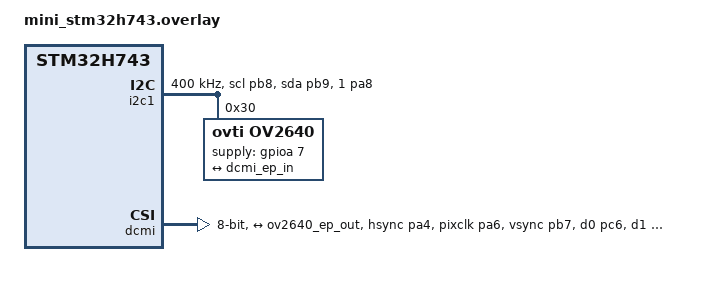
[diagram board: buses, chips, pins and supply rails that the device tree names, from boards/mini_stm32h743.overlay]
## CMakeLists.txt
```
# SPDX-License-Identifier: Apache-2.0

cmake_minimum_required(VERSION 3.28.0)
find_package(Zephyr REQUIRED HINTS $ENV{ZEPHYR_BASE})
project(video_capture)

file(GLOB app_sources src/*.c)
target_sources(app PRIVATE ${app_sources})
```

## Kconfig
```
# VIDEO resolution settings

# Copyright (c) 2024 Charles Dias <charlesdias.cd@outlook.com>
# SPDX-License-Identifier: Apache-2.0

mainmenu "Video capture to LVGL sample application"

menu "Video capture configuration"

config VIDEO_SOURCE_CROP_LEFT
	int "Crop area left value"
	default 0
	help
	   Left value of the crop area within the video source.

config VIDEO_SOURCE_CROP_TOP
	int "Crop area top value"
	default 0
	help
	   Top value of the crop area within the video source.

config VIDEO_SOURCE_CROP_WIDTH
	int "Crop area width value"
	default 0
	help
	   Width value of the crop area within the video source.
	   If set to 0, the crop is not applied.

config VIDEO_SOURCE_CROP_HEIGHT
	int "Crop area height value"
	default 0
	help
	   Height value of the crop area within the video source.
	   If set to 0, the crop is not applied.

config VIDEO_WIDTH
	int "Define the width of the video"
	default 320

config VIDEO_HEIGHT
	int "Define the height of the video"
	default 240

config VIDEO_HFLIP
	bool "Horizontal flip"

config VIDEO_VFLIP
	bool "Vertical flip"

endmenu

source "Kconfig.zephyr"
```

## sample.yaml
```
sample:
  name: Video capture to LVGL
tests:
  sample.video.capture_to_lvgl:
    build_only: true
    tags:
      - video
    platform_allow:
      - mini_stm32h743
    depends_on: video
```

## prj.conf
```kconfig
CONFIG_VIDEO=y

CONFIG_PRINTK=y
CONFIG_LOG=y

CONFIG_MAIN_STACK_SIZE=4096

CONFIG_DISPLAY=y
CONFIG_DISPLAY_LOG_LEVEL_ERR=y

CONFIG_LVGL=y
CONFIG_LV_USE_IMAGE=y
CONFIG_LV_Z_MEM_POOL_SIZE=16384
CONFIG_LV_USE_PERF_MONITOR=y
CONFIG_LV_USE_DROPDOWN=y
CONFIG_LV_USE_SYSMON=y
CONFIG_CPU_LOAD=y
```

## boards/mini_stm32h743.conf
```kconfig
#
# Copyright (c) 2024 Charles Dias <charlesdias.cd@outlook.com>
#
# SPDX-License-Identifier: Apache-2.0
#

CONFIG_LOG_BUFFER_SIZE=2048

CONFIG_VIDEO_BUFFER_POOL_HEAP_SIZE=204800
CONFIG_VIDEO_WIDTH=160
CONFIG_VIDEO_HEIGHT=120
```

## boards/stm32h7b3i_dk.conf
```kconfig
#
# Copyright (c) 2025 Charles Dias <charlesdias.cd@outlook.com>
#
# SPDX-License-Identifier: Apache-2.0
#

CONFIG_LOG_BUFFER_SIZE=2048

CONFIG_VIDEO_WIDTH=480
CONFIG_VIDEO_HEIGHT=272
CONFIG_VIDEO_BUFFER_POOL_HEAP_SIZE=524288
```

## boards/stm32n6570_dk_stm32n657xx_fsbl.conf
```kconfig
# SPDX-FileCopyrightText: Copyright The Zephyr Project Contributors
# SPDX-License-Identifier: Apache-2.0

CONFIG_VIDEO_WIDTH=800
CONFIG_VIDEO_HEIGHT=480
CONFIG_VIDEO_BUFFER_POOL_HEAP_SIZE=1600000
```

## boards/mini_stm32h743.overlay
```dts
/*
 * Copyright (c) 2024 Charles Dias <charlesdias.cd@outlook.com>
 *
 * SPDX-License-Identifier: Apache-2.0
 *
 */

/ {
	chosen {
		zephyr,camera = &dcmi;
	};
};

&pll {
	div-m = <5>;
	mul-n = <96>;
	div-p = <2>;
	div-q = <2>;
	div-r = <2>;
	clocks = <&clk_hse>;
	status = "okay";
};

&rcc {
	clocks = <&pll>;
	clock-frequency = <DT_FREQ_M(240)>;
	d1cpre = <1>;
	hpre = <1>;
	d1ppre = <2>;
	d2ppre1 = <2>;
	d2ppre2 = <2>;
	d3ppre = <2>;
};

&i2c1 {
	pinctrl-0 = <&i2c1_scl_pb8 &i2c1_sda_pb9 &rcc_mco_1_pa8>;
	pinctrl-names = "default";
	status = "okay";
	clock-frequency = <I2C_BITRATE_FAST>;

	ov2640: ov2640@30 {
		compatible = "ovti,ov2640";
		reg = <0x30>;
		status = "okay";
		supply-gpios = <&gpioa 7 GPIO_ACTIVE_HIGH>;
		clock-rate-control = <0x80>;

		port {
			ov2640_ep_out: endpoint {
				remote-endpoint = <&dcmi_ep_in>;
			};
		};
	};
};

&dcmi {
	status = "okay";
	sensor = <&ov2640>;
	pinctrl-0 = <&dcmi_hsync_pa4 &dcmi_pixclk_pa6 &dcmi_vsync_pb7
		&dcmi_d0_pc6 &dcmi_d1_pc7 &dcmi_d2_pe0 &dcmi_d3_pe1
		&dcmi_d4_pe4 &dcmi_d5_pd3 &dcmi_d6_pe5 &dcmi_d7_pe6>;
	pinctrl-names = "default";
	bus-width = <8>;
	hsync-active = <0>;
	vsync-active = <0>;
	pixelclk-active = <1>;
	capture-rate = <1>;
	dmas = <&dma1 0 75 (STM32_DMA_PERIPH_TO_MEMORY | STM32_DMA_PERIPH_NO_INC |
		STM32_DMA_MEM_INC | STM32_DMA_PERIPH_8BITS | STM32_DMA_MEM_32BITS |
		STM32_DMA_PRIORITY_HIGH) STM32_DMA_FIFO_1_4>;

	port {
		dcmi_ep_in: endpoint {
			remote-endpoint = <&ov2640_ep_out>;
		};
	};
};

&dma1 {
	status = "okay";
};

&dmamux1 {
	status = "okay";
};
```

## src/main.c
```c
/*
 * Copyright (c) 2024 Charles Dias <charlesdias.cd@outlook.com>
 *
 * SPDX-License-Identifier: Apache-2.0
 */

#include <zephyr/device.h>
#include <zephyr/drivers/display.h>
#include <zephyr/kernel.h>
#include <zephyr/logging/log.h>
#include <zephyr/video/video.h>

#include <lvgl.h>

LOG_MODULE_REGISTER(main, CONFIG_LOG_DEFAULT_LEVEL);

#if !DT_HAS_CHOSEN(zephyr_camera)
#error No camera chosen in devicetree. Missing "--shield" or "--snippet video-sw-generator" flag?
#endif

#if !DT_HAS_CHOSEN(zephyr_display)
#error No display chosen in devicetree. Missing "--shield" flag?
#endif

int main(void)
{
	struct video_buffer *buffers[2];
	struct video_buffer *vbuf = &(struct video_buffer){};
	const struct device *display_dev;
	const struct device *video_dev;
	struct video_format fmt;
	struct video_caps caps;
	enum video_buf_type type = VIDEO_BUF_TYPE_OUTPUT;
	struct video_selection sel = {
		.type = VIDEO_BUF_TYPE_OUTPUT,
	};
	int i = 0;
	int err;

	display_dev = DEVICE_DT_GET(DT_CHOSEN(zephyr_display));
	if (!device_is_ready(display_dev)) {
		LOG_ERR("Device not ready, aborting test");
		return 0;
	}

	video_dev = DEVICE_DT_GET(DT_CHOSEN(zephyr_camera));
	if (!device_is_ready(video_dev)) {
		LOG_ERR("%s device is not ready", video_dev->name);
		return 0;
	}

	LOG_INF("- Device name: %s", video_dev->name);

	/* Get capabilities */
	caps.type = type;
	if (video_get_caps(video_dev, &caps)) {
		LOG_ERR("Unable to retrieve video capabilities");
		return 0;
	}

	LOG_INF("- Capabilities:");
	while (caps.format_caps[i].pixelformat) {
		const struct video_format_cap *fcap = &caps.format_caps[i];
		/* four %c to string */
		LOG_INF("  %c%c%c%c width [%u; %u; %u] height [%u; %u; %u]",
			(char)fcap->pixelformat, (char)(fcap->pixelformat >> 8),
			(char)(fcap->pixelformat >> 16), (char)(fcap->pixelformat >> 24),
			fcap->width_min, fcap->width_max, fcap->width_step, fcap->height_min,
			fcap->height_max, fcap->height_step);
		i++;
	}

	/* Get default/native format */
	fmt.type = type;
	if (video_get_format(video_dev, &fmt)) {
		LOG_ERR("Unable to retrieve video format");
		return 0;
	}

	/* Set the crop setting if necessary */
#if CONFIG_VIDEO_SOURCE_CROP_WIDTH && CONFIG_VIDEO_SOURCE_CROP_HEIGHT
	sel.target = VIDEO_SEL_TGT_CROP;
	sel.rect.left = CONFIG_VIDEO_SOURCE_CROP_LEFT;
	sel.rect.top = CONFIG_VIDEO_SOURCE_CROP_TOP;
	sel.rect.width = CONFIG_VIDEO_SOURCE_CROP_WIDTH;
	sel.rect.height = CONFIG_VIDEO_SOURCE_CROP_HEIGHT;
	if (video_set_selection(video_dev, &sel)) {
		LOG_ERR("Unable to set selection crop");
		return 0;
	}
	LOG_INF("Selection crop set to (%u,%u)/%ux%u",
		sel.rect.left, sel.rect.top, sel.rect.width, sel.rect.height);
#endif

	/* Set format */
	fmt.width = CONFIG_VIDEO_WIDTH;
	fmt.height = CONFIG_VIDEO_HEIGHT;
	fmt.pixelformat = VIDEO_PIX_FMT_RGB565;

	/*
	 * Check (if possible) if targeted size is same as crop
	 * and if compose is necessary
	 */
	sel.target = VIDEO_SEL_TGT_CROP;
	err = video_get_selection(video_dev, &sel);
	if (err < 0 && err != -ENOSYS) {
		LOG_ERR("Unable to get selection crop");
		return 0;
	}

	if (err == 0 && (sel.rect.width != fmt.width || sel.rect.height != fmt.height)) {
		sel.target = VIDEO_SEL_TGT_COMPOSE;
		sel.rect.left = 0;
		sel.rect.top = 0;
		sel.rect.width = fmt.width;
		sel.rect.height = fmt.height;
		err = video_set_selection(video_dev, &sel);
		if (err < 0 && err != -ENOSYS) {
			LOG_ERR("Unable to set selection compose");
			return 0;
		}
	}

	if (video_set_format(video_dev, &fmt)) {
		LOG_ERR("Unable to set up video format");
		return 0;
	}

	LOG_INF("- Format: %c%c%c%c %ux%u %u", (char)fmt.pixelformat, (char)(fmt.pixelformat >> 8),
		(char)(fmt.pixelformat >> 16), (char)(fmt.pixelformat >> 24), fmt.width, fmt.height,
		fmt.pitch);

	/* Alloc video buffers and enqueue for capture */
	for (i = 0; i < ARRAY_SIZE(buffers); i++) {
		buffers[i] = video_buffer_aligned_alloc(fmt.size, CONFIG_VIDEO_BUFFER_POOL_ALIGN,
							K_NO_WAIT);
		if (buffers[i] == NULL) {
			LOG_ERR("Unable to alloc video buffer");
			return 0;
		}
		buffers[i]->type = type;
		video_enqueue(video_dev, buffers[i]);
	}

	/* Set controls */
	struct video_control ctrl = {.id = VIDEO_CID_HFLIP, .val = 1};

	if (IS_ENABLED(CONFIG_VIDEO_HFLIP)) {
		video_set_ctrl(video_dev, &ctrl);
	}

	if (IS_ENABLED(CONFIG_VIDEO_VFLIP)) {
		ctrl.id = VIDEO_CID_VFLIP;
		video_set_ctrl(video_dev, &ctrl);
	}

	/* Start video capture */
	if (video_stream_start(video_dev, type)) {
		LOG_ERR("Unable to start capture (interface)");
		return 0;
	}

	err = display_blanking_off(display_dev);
	if (err < 0 && err != -ENOSYS) {
		LOG_ERR("Failed to turn blanking off (error %d)", err);
		return 0;
	}

	lv_img_dsc_t video_img = {
		.header.w = CONFIG_VIDEO_WIDTH,
		.header.h = CONFIG_VIDEO_HEIGHT,
		.data_size = CONFIG_VIDEO_WIDTH * CONFIG_VIDEO_HEIGHT * sizeof(lv_color_t),
		.header.cf = LV_COLOR_FORMAT_NATIVE,
	};

	lv_obj_t *screen = lv_img_create(lv_scr_act());

	LOG_INF("- Capture started");

	/* Grab video frames */
	vbuf->type = type;
	while (1) {
		err = video_dequeue(video_dev, &vbuf, K_FOREVER);
		if (err) {
			LOG_ERR("Unable to dequeue video buf");
			return 0;
		}

		video_img.data = (const uint8_t *)vbuf->buffer;
		lv_img_set_src(screen, &video_img);
		lv_obj_align(screen, LV_ALIGN_BOTTOM_LEFT, 0, 0);

		lv_timer_handler();

		err = video_enqueue(video_dev, vbuf);
		if (err) {
			LOG_ERR("Unable to requeue video buf");
			return 0;
		}
	}
}
```
